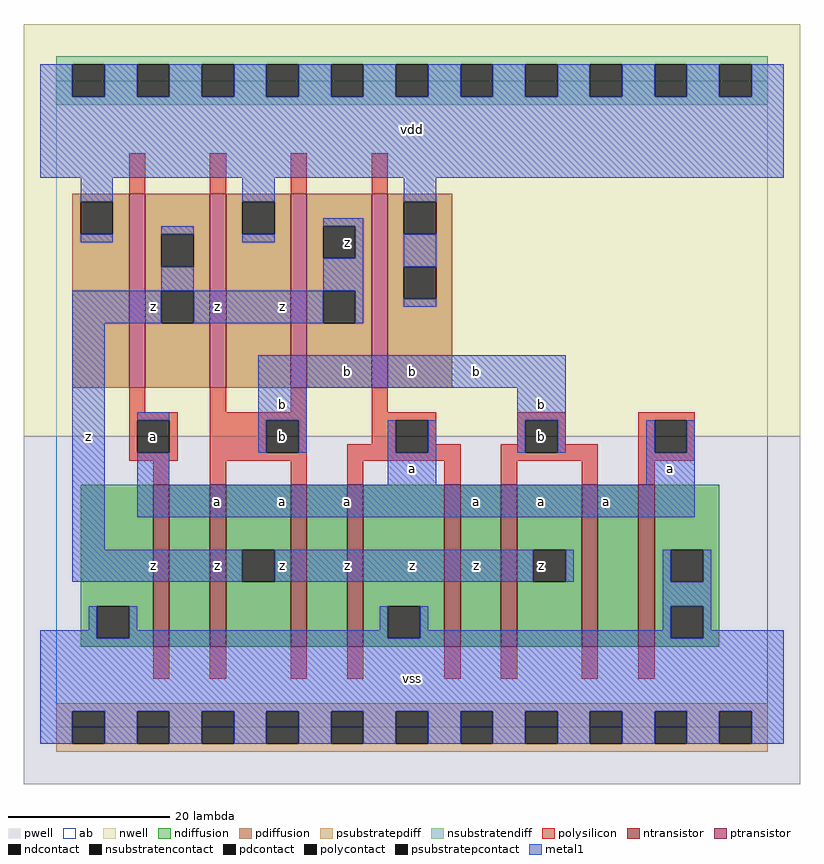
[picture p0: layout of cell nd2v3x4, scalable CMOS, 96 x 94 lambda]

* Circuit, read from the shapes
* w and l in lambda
.subckt nd2v3x4 a b vdd vss z
M1 n1 a vss vss nfet w=20 l=2
M2 z b n1 vss nfet w=20 l=2
M3 n2 b z vss nfet w=20 l=2
M4 vss a n2 vss nfet w=20 l=2
M5 n3 a vss vss nfet w=20 l=2
M6 z b n3 vss nfet w=20 l=2
M7 n4 b z vss nfet w=20 l=2
M8 vss a n4 vss nfet w=20 l=2
M9 z a vdd vdd pfet w=24 l=2 m=2
M10 vdd b z vdd pfet w=24 l=2 m=2
.ends

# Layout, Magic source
magic
tech scmos
<< ab >>
rect 0 0 88 80
<< pwell >>
rect -4 -7 92 36
<< nwell >>
rect -4 36 92 87
<< polysilicon >>
rect 9 66 11 71
rect 19 66 21 71
rect 29 66 31 71
rect 39 66 41 71
rect 9 39 11 42
rect 19 39 21 42
rect 29 39 31 42
rect 9 38 15 39
rect 9 34 10 38
rect 14 34 15 38
rect 9 33 15 34
rect 19 38 31 39
rect 19 34 26 38
rect 30 34 31 38
rect 39 39 41 42
rect 39 38 47 39
rect 39 35 42 38
rect 19 33 31 34
rect 12 30 14 33
rect 19 30 21 33
rect 29 30 31 33
rect 36 34 42 35
rect 46 35 47 38
rect 57 38 63 39
rect 57 35 58 38
rect 46 34 50 35
rect 36 33 50 34
rect 36 30 38 33
rect 48 30 50 33
rect 55 34 58 35
rect 62 35 63 38
rect 72 38 79 39
rect 62 34 67 35
rect 55 33 67 34
rect 55 30 57 33
rect 65 30 67 33
rect 72 34 74 38
rect 78 34 79 38
rect 72 33 79 34
rect 72 30 74 33
rect 12 6 14 10
rect 19 6 21 10
rect 29 6 31 10
rect 36 6 38 10
rect 48 6 50 10
rect 55 6 57 10
rect 65 6 67 10
rect 72 6 74 10
<< ndiffusion >>
rect 3 15 12 30
rect 3 11 5 15
rect 9 11 12 15
rect 3 10 12 11
rect 14 10 19 30
rect 21 22 29 30
rect 21 18 23 22
rect 27 18 29 22
rect 21 10 29 18
rect 31 10 36 30
rect 38 15 48 30
rect 38 11 41 15
rect 45 11 48 15
rect 38 10 48 11
rect 50 10 55 30
rect 57 22 65 30
rect 57 18 59 22
rect 63 18 65 22
rect 57 10 65 18
rect 67 10 72 30
rect 74 22 82 30
rect 74 18 76 22
rect 80 18 82 22
rect 74 15 82 18
rect 74 11 76 15
rect 80 11 82 15
rect 74 10 82 11
<< pdiffusion >>
rect 2 65 9 66
rect 2 61 3 65
rect 7 61 9 65
rect 2 42 9 61
rect 11 61 19 66
rect 11 57 13 61
rect 17 57 19 61
rect 11 54 19 57
rect 11 50 13 54
rect 17 50 19 54
rect 11 42 19 50
rect 21 65 29 66
rect 21 61 23 65
rect 27 61 29 65
rect 21 42 29 61
rect 31 62 39 66
rect 31 58 33 62
rect 37 58 39 62
rect 31 54 39 58
rect 31 50 33 54
rect 37 50 39 54
rect 31 42 39 50
rect 41 65 49 66
rect 41 61 43 65
rect 47 61 49 65
rect 41 57 49 61
rect 41 53 43 57
rect 47 53 49 57
rect 41 42 49 53
<< metal1 >>
rect -2 78 2 82
rect 6 78 10 82
rect 14 78 18 82
rect 22 78 26 82
rect 30 78 34 82
rect 38 78 42 82
rect 46 78 50 82
rect 54 78 58 82
rect 62 78 66 82
rect 70 78 74 82
rect 78 78 82 82
rect 86 78 90 82
rect -2 68 90 78
rect 3 65 7 68
rect 23 65 27 68
rect 3 60 7 61
rect 13 61 17 62
rect 43 65 47 68
rect 23 60 27 61
rect 33 62 38 63
rect 13 54 17 57
rect 37 58 38 62
rect 33 54 38 58
rect 2 50 13 54
rect 17 50 33 54
rect 37 50 38 54
rect 43 57 47 61
rect 43 52 47 53
rect 2 22 6 50
rect 25 42 63 46
rect 10 38 14 39
rect 25 38 31 42
rect 57 38 63 42
rect 25 34 26 38
rect 30 34 31 38
rect 41 34 42 38
rect 46 34 47 38
rect 57 34 58 38
rect 62 34 63 38
rect 73 34 74 38
rect 78 34 79 38
rect 10 30 14 34
rect 41 30 47 34
rect 73 30 79 34
rect 10 26 79 30
rect 2 18 23 22
rect 27 18 59 22
rect 63 18 64 22
rect 75 18 76 22
rect 80 18 81 22
rect 75 15 81 18
rect 4 12 5 15
rect -2 11 5 12
rect 9 12 10 15
rect 40 12 41 15
rect 9 11 41 12
rect 45 12 46 15
rect 75 12 76 15
rect 45 11 76 12
rect 80 12 81 15
rect 80 11 90 12
rect -2 2 90 11
rect -2 -2 2 2
rect 6 -2 10 2
rect 14 -2 18 2
rect 22 -2 26 2
rect 30 -2 34 2
rect 38 -2 42 2
rect 46 -2 50 2
rect 54 -2 58 2
rect 62 -2 66 2
rect 70 -2 74 2
rect 78 -2 82 2
rect 86 -2 90 2
<< ntransistor >>
rect 12 10 14 30
rect 19 10 21 30
rect 29 10 31 30
rect 36 10 38 30
rect 48 10 50 30
rect 55 10 57 30
rect 65 10 67 30
rect 72 10 74 30
<< ptransistor >>
rect 9 42 11 66
rect 19 42 21 66
rect 29 42 31 66
rect 39 42 41 66
<< polycontact >>
rect 10 34 14 38
rect 26 34 30 38
rect 42 34 46 38
rect 58 34 62 38
rect 74 34 78 38
<< ndcontact >>
rect 5 11 9 15
rect 23 18 27 22
rect 41 11 45 15
rect 59 18 63 22
rect 76 18 80 22
rect 76 11 80 15
<< pdcontact >>
rect 3 61 7 65
rect 13 57 17 61
rect 13 50 17 54
rect 23 61 27 65
rect 33 58 37 62
rect 33 50 37 54
rect 43 61 47 65
rect 43 53 47 57
<< psubstratepcontact >>
rect 2 -2 6 2
rect 10 -2 14 2
rect 18 -2 22 2
rect 26 -2 30 2
rect 34 -2 38 2
rect 42 -2 46 2
rect 50 -2 54 2
rect 58 -2 62 2
rect 66 -2 70 2
rect 74 -2 78 2
rect 82 -2 86 2
<< nsubstratencontact >>
rect 2 78 6 82
rect 10 78 14 82
rect 18 78 22 82
rect 26 78 30 82
rect 34 78 38 82
rect 42 78 46 82
rect 50 78 54 82
rect 58 78 62 82
rect 66 78 70 82
rect 74 78 78 82
rect 82 78 86 82
<< psubstratepdiff >>
rect 0 2 88 3
rect 0 -2 2 2
rect 6 -2 10 2
rect 14 -2 18 2
rect 22 -2 26 2
rect 30 -2 34 2
rect 38 -2 42 2
rect 46 -2 50 2
rect 54 -2 58 2
rect 62 -2 66 2
rect 70 -2 74 2
rect 78 -2 82 2
rect 86 -2 88 2
rect 0 -3 88 -2
<< nsubstratendiff >>
rect 0 82 88 83
rect 0 78 2 82
rect 6 78 10 82
rect 14 78 18 82
rect 22 78 26 82
rect 30 78 34 82
rect 38 78 42 82
rect 46 78 50 82
rect 54 78 58 82
rect 62 78 66 82
rect 70 78 74 82
rect 78 78 82 82
rect 86 78 88 82
rect 0 77 88 78
<< labels >>
rlabel metal1 12 20 12 20 6 z
rlabel polycontact 12 36 12 36 6 a
rlabel metal1 4 36 4 36 6 z
rlabel metal1 12 52 12 52 6 z
rlabel metal1 20 20 20 20 6 z
rlabel metal1 20 28 20 28 6 a
rlabel metal1 28 20 28 20 6 z
rlabel metal1 28 28 28 28 6 a
rlabel polycontact 28 36 28 36 6 b
rlabel metal1 28 40 28 40 6 b
rlabel metal1 20 52 20 52 6 z
rlabel metal1 28 52 28 52 6 z
rlabel metal1 44 6 44 6 6 vss
rlabel metal1 36 20 36 20 6 z
rlabel metal1 36 28 36 28 6 a
rlabel metal1 44 20 44 20 6 z
rlabel metal1 44 32 44 32 6 a
rlabel metal1 36 44 36 44 6 b
rlabel metal1 44 44 44 44 6 b
rlabel pdcontact 36 60 36 60 6 z
rlabel metal1 44 74 44 74 6 vdd
rlabel metal1 52 20 52 20 6 z
rlabel metal1 52 28 52 28 6 a
rlabel ndcontact 60 20 60 20 6 z
rlabel metal1 60 28 60 28 6 a
rlabel metal1 68 28 68 28 6 a
rlabel metal1 52 44 52 44 6 b
rlabel polycontact 60 36 60 36 6 b
rlabel metal1 60 40 60 40 6 b
rlabel metal1 76 32 76 32 6 a
<< end >>
